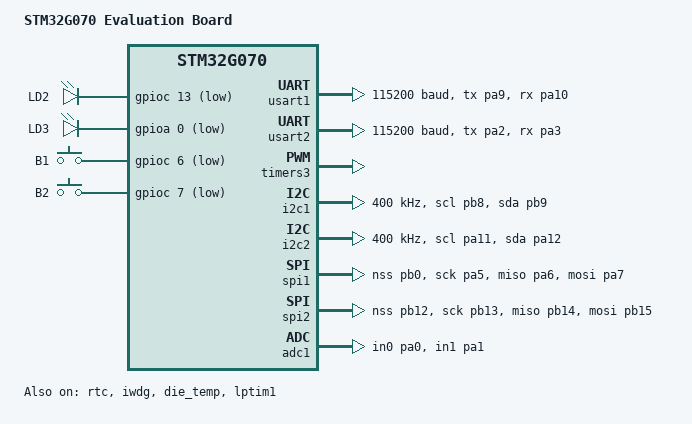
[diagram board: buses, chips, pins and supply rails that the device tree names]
/*
 *
 * SPDX-License-Identifier: Apache-2.0
 */

/dts-v1/;
#include <st/g0/stm32g070Xb.dtsi>
#include <st/g0/stm32g070cbtx-pinctrl.dtsi>

/ {
	model = "STM32G070 Evaluation Board";
	compatible = "st,stm32g070-evb";

	chosen {
		zephyr,console = &usart1;
		zephyr,shell-uart = &usart1;
		zephyr,sram = &sram0;
		zephyr,flash = &flash0;
	};

	power-states {
		stop0: state0 {
			compatible = "zephyr,power-state";
			power-state-name = "suspend-to-idle";
			substate-id = <1>;
			min-residency-us = <20>;
		};
		stop1: state1 {
			compatible = "zephyr,power-state";
			power-state-name = "suspend-to-idle";
			substate-id = <2>;
			min-residency-us = <100>;
		};
	};

	leds {
		compatible = "gpio-leds";
		led_blue: led_0 {
			gpios = <&gpioc 13 GPIO_ACTIVE_LOW>;
			label = "LD2";
		};
		led_red: led_1 {
			gpios = <&gpioa 0 GPIO_ACTIVE_LOW>;
			label = "LD3";
		};
	};

	gpio_keys {
		compatible = "gpio-keys";
		user_button_0: button_0 {
			label = "B1";
			gpios = <&gpioc 6 GPIO_ACTIVE_LOW>;
		};
		user_button_1: button_1 {
			label = "B2";
			gpios = <&gpioc 7 GPIO_ACTIVE_LOW>;
		};
	};

	aliases {
		led0 = &led_blue;
		led1 = &led_red;
		sw0 = &user_button_0;
		sw1 = &user_button_1;
		watchdog0 = &iwdg;
	};
};

&clk_lsi {
	status = "okay";
};

&clk_hsi {
	status = "okay";
};

&pll {
	div-m = <1>;
	mul-n = <8>;
	div-p = <2>;
	div-q = <2>;
	div-r = <2>;
	clocks = <&clk_hsi>;
	status = "okay";
};

&rcc {
	clocks = <&pll>;
	clock-frequency = <DT_FREQ_M(64)>;
	ahb-prescaler = <1>;
	apb1-prescaler = <1>;
};

&usart1 { 
	pinctrl-0 = <&usart1_tx_pa9 &usart1_rx_pa10>;
	pinctrl-names = "default";
	current-speed = <115200>;
	status = "okay";
};

&usart2 {
	pinctrl-0 = <&usart2_tx_pa2 &usart2_rx_pa3>;
	pinctrl-names = "default";
	current-speed = <115200>;
	status = "okay";
};

&rtc {
	clocks = <&rcc STM32_CLOCK_BUS_APB1 0x00000400>,
		 <&rcc STM32_SRC_LSI RTC_SEL(2)>;
	status = "okay";
};

&iwdg {
	status = "okay";
};

&timers3 {
	st,prescaler = <10000>;
	status = "okay";
	pwm3: pwm {
		status = "okay";
		pinctrl-0 = <&tim3_ch1_pa6>;
		pinctrl-names = "default";
	};
};

&i2c1 {
	pinctrl-0 = <&i2c1_scl_pb8 &i2c1_sda_pb9>;
	pinctrl-names = "default";
	status = "okay";
	clock-frequency = <I2C_BITRATE_FAST>;
};

&i2c2 {
	pinctrl-0 = <&i2c2_scl_pa11 &i2c2_sda_pa12>;
	pinctrl-names = "default";
	status = "okay";
	clock-frequency = <I2C_BITRATE_FAST>;
};

&spi1 {
	pinctrl-0 = <&spi1_nss_pb0 &spi1_sck_pa5
		     &spi1_miso_pa6 &spi1_mosi_pa7>;
	pinctrl-names = "default";
	status = "okay";
};

&spi2 {
	pinctrl-0 = <&spi2_nss_pb12 &spi2_sck_pb13
		     &spi2_miso_pb14 &spi2_mosi_pb15>;
	pinctrl-names = "default";
	status = "okay";
};

&adc1 {
	pinctrl-0 = <&adc1_in0_pa0 &adc1_in1_pa1>;
	pinctrl-names = "default";
	status = "okay";
	vref-mv = <3300>;
};

&die_temp {
	status = "okay";
};

&flash0 {
	partitions {
		compatible = "fixed-partitions";
		#address-cells = <1>;
		#size-cells = <1>;

		/* Set 2KB of storage at the end of 128KB flash */
		storage_partition: partition@1f800 {
			label = "storage";
			reg = <0x0001f800 DT_SIZE_K(2)>;
		};
	};
};

&cpu0 {
	cpu-power-states = <&stop0 &stop1>;
};

&lptim1 {
	clocks = <&rcc STM32_CLOCK_BUS_APB1 0x80000000>,
		 <&rcc STM32_SRC_LSI LPTIM1_SEL(1)>;
	status = "okay";
};
